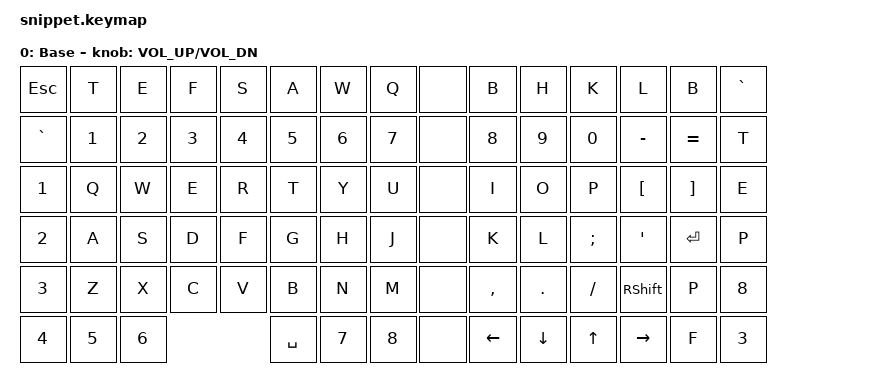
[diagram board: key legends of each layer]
#include <behaviors.dtsi>
#include <dt-bindings/zmk/bt.h>
#include <dt-bindings/zmk/keys.h>

/ {
    keymap {
        compatible = "zmk,keymap";

        default_layer {
            display-name = "Base";
            bindings = <
                &kp ESC   &kp T    &kp E    &kp F    &kp S     &kp A     &kp W     &kp Q      &none &kp B     &kp H    &kp K     &kp L     &kp B     &kp GRAVE
                &kp GRAVE &kp N1   &kp N2   &kp N3   &kp N4    &kp N5    &kp N6    &kp N7     &none &kp N8    &kp N9   &kp N0    &kp MINUS &kp EQUAL &kp T
                &kp N1    &kp Q    &kp W    &kp E    &kp R     &kp T     &kp Y     &kp U      &none &kp I     &kp O    &kp P     &kp LBKT  &kp RBKT  &kp E
                &kp N2    &kp A    &kp S    &kp D    &kp F     &kp G     &kp H     &kp J      &none &kp K     &kp L    &kp SEMI  &kp SQT   &kp ENTER &kp P
                &kp N3    &kp Z    &kp X    &kp C    &kp V     &kp B     &kp N     &kp M      &none &kp COMMA &kp DOT  &kp FSLH  &kp RSHFT &kp P     &kp N8
                &kp N4    &kp N5   &kp N6                      &kp SPACE &kp N7    &kp N8     &none &kp LEFT  &kp DOWN &kp UP    &kp RIGHT &kp F     &kp N3
            >;
            sensor-bindings = <&inc_dec_kp C_VOL_UP C_VOL_DN>;
        };

        
    };
};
